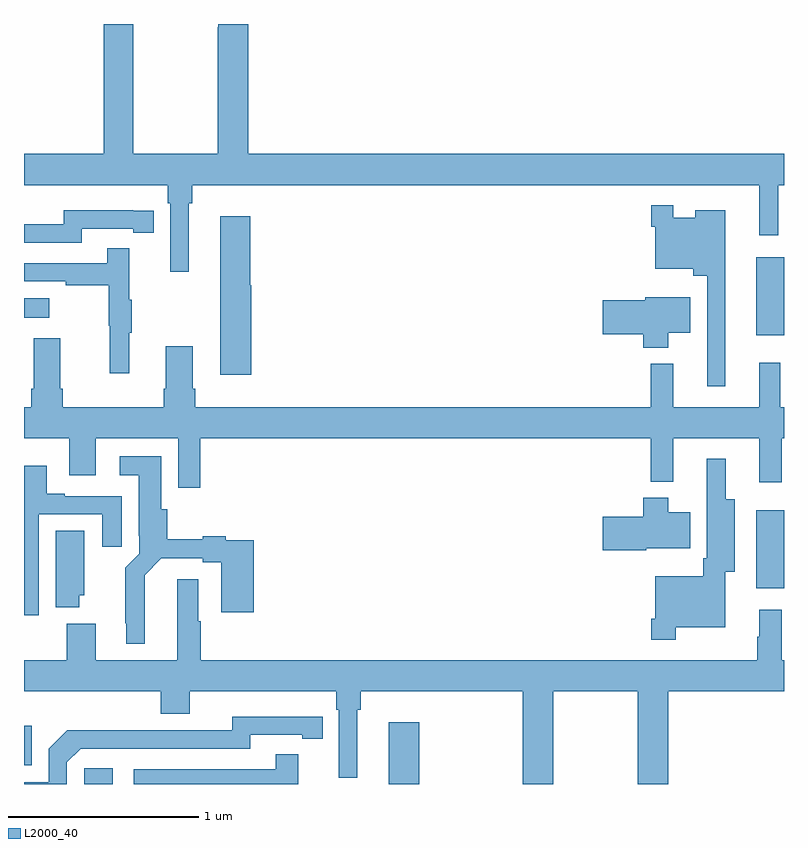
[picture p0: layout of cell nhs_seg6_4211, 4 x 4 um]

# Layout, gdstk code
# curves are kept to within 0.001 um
import gdstk
lib = gdstk.Library(unit=1e-6, precision=1e-09)
def R(c, l, rs):  # rectangles x0, y0, x1, y1
    for r in rs: c.add(gdstk.rectangle(r[:2], r[2:], *l))
def P(c, l, *ps):  # polygons
    for p in ps: c.add(gdstk.Polygon(p, *l))
L2000_40 = (2000, 40)

nhs_seg6_4211 = lib.new_cell('nhs_seg6_4211')
R(nhs_seg6_4211, L2000_40, [(359.316,961.5,359.467,961.582), (360.92,961.5,361.079,961.825), (359,961.599,359.04,961.807), (362.855,962.531,363,962.941), (362.855,963.863,363,964.273), (359,963.953,359.134,964.057)])
P(nhs_seg6_4211, L2000_40, [(359.866,964.556),(359.885,964.556),(359.885,964.652),(362.87,964.652),(362.87,964.389),(362.969,964.389),(362.969,964.652),(363,964.652),(363,964.816),(360.179,964.816),(360.179,965.5),(360.023,965.5),(360.023,965.483),(360.019,965.483),(360.019,964.816),(359.574,964.816),(359.574,965.5),(359.419,965.5),(359.419,964.816),(359,964.816),(359,964.652),(359.756,964.652),(359.756,964.556),(359.769,964.556),(359.769,964.197),(359.866,964.197)],
  [(362.692,964.519),(362.534,964.519),(362.534,964.48),(362.418,964.48),(362.418,964.546),(362.302,964.546),(362.302,964.433),(362.322,964.433),(362.322,964.211),(362.522,964.211),(362.522,964.175),(362.595,964.175),(362.595,963.594),(362.692,963.594)],
  [(359.304,964.422),(359.576,964.422),(359.576,964.402),(359.684,964.402),(359.684,964.518),(359.576,964.518),(359.576,964.519),(359.208,964.519),(359.208,964.446),(359,964.446),(359,964.35),(359.304,964.35)],
  [(360.196,964.125),(360.191,964.125),(360.191,964.489),(360.032,964.489),(360.032,963.654),(360.196,963.654)],
  [(359.555,963.875),(359.566,963.875),(359.566,964.049),(359.555,964.049),(359.555,964.321),(359.437,964.321),(359.437,964.242),(359,964.242),(359,964.146),(359.221,964.146),(359.221,964.126),(359.445,964.126),(359.445,963.912),(359.452,963.912),(359.452,963.663),(359.555,963.663)],
  [(362.392,963.875),(362.506,963.875),(362.506,964.063),(362.27,964.063),(362.27,964.046),(362.046,964.046),(362.046,963.868),(362.258,963.868),(362.258,963.797),(362.392,963.797)],
  [(359.927,963.32),(362.299,963.32),(362.299,963.092),(362.417,963.092),(362.417,963.32),(362.87,963.32),(362.87,963.087),(362.987,963.087),(362.987,963.32),(363,963.32),(363,963.484),(362.98,963.484),(362.98,963.718),(362.87,963.718),(362.87,963.484),(362.417,963.484),(362.417,963.712),(362.299,963.712),(362.299,963.484),(359.9,963.484),(359.9,963.58),(359.887,963.58),(359.887,963.805),(359.747,963.805),(359.747,963.58),(359.735,963.58),(359.735,963.484),(359.204,963.484),(359.204,963.58),(359.191,963.58),(359.191,963.847),(359.051,963.847),(359.051,963.58),(359.039,963.58),(359.039,963.484),(359,963.484),(359,963.32),(359.237,963.32),(359.237,963.126),(359.377,963.126),(359.377,963.32),(359.811,963.32),(359.811,963.06),(359.927,963.06)],
  [(359.635,962.6),(359.722,962.688),(359.942,962.688),(359.942,962.668),(360.038,962.668),(360.038,962.403),(360.209,962.403),(360.209,962.784),(360.062,962.784),(360.062,962.804),(359.942,962.804),(359.942,962.789),(359.753,962.789),(359.753,962.946),(359.722,962.946),(359.722,963.226),(359.505,963.226),(359.505,963.125),(359.603,963.125),(359.603,962.806),(359.607,962.806),(359.607,962.712),(359.533,962.638),(359.533,962.347),(359.537,962.347),(359.537,962.237),(359.635,962.237)],
  [(362.431,962.324),(362.692,962.324),(362.692,962.618),(362.74,962.618),(362.74,962.998),(362.693,962.998),(362.693,963.211),(362.594,963.211),(362.594,962.689),(362.575,962.689),(362.575,962.593),(362.322,962.593),(362.322,962.371),(362.302,962.371),(362.302,962.259),(362.431,962.259)],
  [(359.077,962.919),(359.411,962.919),(359.411,962.748),(359.515,962.748),(359.515,963.015),(359.215,963.015),(359.215,963.028),(359.119,963.028),(359.119,963.175),(359,963.175),(359,962.388),(359.077,962.388)],
  [(362.274,962.741),(362.506,962.741),(362.506,962.929),(362.392,962.929),(362.392,963.007),(362.258,963.007),(362.258,962.907),(362.046,962.907),(362.046,962.729),(362.274,962.729)],
  [(359.29,962.493),(359.317,962.493),(359.317,962.834),(359.168,962.834),(359.168,962.429),(359.29,962.429)],
  [(361.785,961.988),(362.23,961.988),(362.23,961.5),(362.39,961.5),(362.39,961.988),(363,961.988),(363,962.152),(362.987,962.152),(362.987,962.416),(362.87,962.416),(362.87,962.276),(362.859,962.276),(362.859,962.152),(359.93,962.152),(359.93,962.357),(359.917,962.357),(359.917,962.578),(359.807,962.578),(359.807,962.152),(359.377,962.152),(359.377,962.344),(359.225,962.344),(359.225,962.152),(359,962.152),(359,961.988),(359.72,961.988),(359.72,961.871),(359.872,961.871),(359.872,961.988),(360.644,961.988),(360.644,961.892),(360.657,961.892),(360.657,961.533),(360.754,961.533),(360.754,961.892),(360.773,961.892),(360.773,961.988),(361.625,961.988),(361.625,961.5),(361.785,961.5)],
  [(359.226,961.614),(359.298,961.686),(360.192,961.686),(360.192,961.758),(360.464,961.758),(360.464,961.738),(360.572,961.738),(360.572,961.854),(360.096,961.855),(360.096,961.782),(359.636,961.782),(359.636,961.784),(359.228,961.784),(359.13,961.686),(359.13,961.509),(359,961.509),(359,961.5),(359.226,961.5)],
  [(360.443,961.657),(360.325,961.657),(360.325,961.578),(359.577,961.578),(359.577,961.5),(360.443,961.5)])

lib.write_gds('nhs_seg6_4211.gds')
